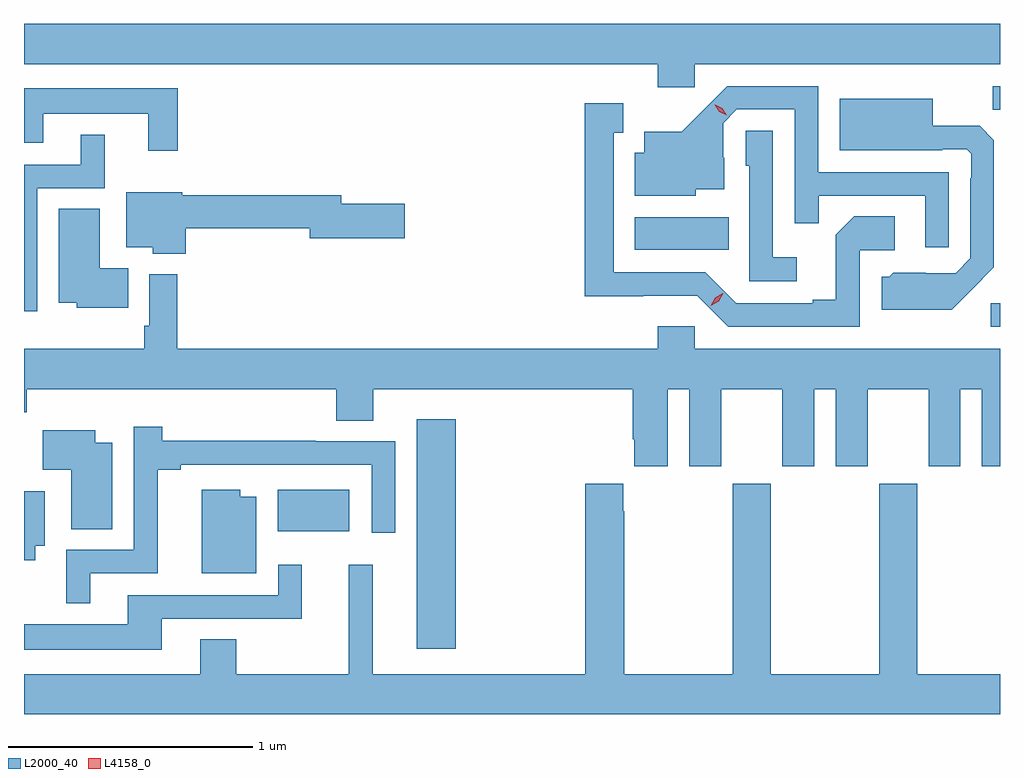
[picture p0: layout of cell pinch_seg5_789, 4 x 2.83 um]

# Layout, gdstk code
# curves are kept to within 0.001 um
import gdstk
lib = gdstk.Library(unit=1e-6, precision=1e-09)
def R(c, l, rs):  # rectangles x0, y0, x1, y1
    for r in rs: c.add(gdstk.rectangle(r[:2], r[2:], *l))
def P(c, l, *ps):  # polygons
    for p in ps: c.add(gdstk.Polygon(p, *l))
L2000_40 = (2000, 40)
L4158_0 = (4158, 0)

pinch_seg5_789 = lib.new_cell('pinch_seg5_789')
R(pinch_seg5_789, L2000_40, [(759.854,900.984,760.013,901.924), (759.284,901.466,759.577,901.636), (762.207,902.304,762.244,902.4), (760.748,902.618,761.132,902.752), (762.214,903.193,762.244,903.288)])
P(pinch_seg5_789, L2000_40, [(760.992,903.38),(762.244,903.38),(762.244,903.544),(758.244,903.544),(758.244,903.38),(760.841,903.38),(760.841,903.285),(760.992,903.285)],
  [(762.033,902.937),(761.499,902.937),(761.499,903.288),(761.126,903.288),(760.939,903.103),(760.787,903.103),(760.787,903.016),(760.748,903.016),(760.748,902.84),(760.998,902.84),(760.998,902.867),(761.113,902.867),(761.113,902.996),(761.109,902.996),(761.109,903.138),(761.166,903.195),(761.403,903.195),(761.403,902.728),(761.501,902.728),(761.501,902.841),(761.937,902.841),(761.937,902.628),(762.033,902.628)],
  [(758.875,903.28),(758.244,903.28),(758.244,903.057),(758.323,903.057),(758.323,903.176),(758.753,903.176),(758.753,903.024),(758.875,903.024)],
  [(762.127,902.453),(762.219,902.546),(762.219,903.068),(762.16,903.127),(761.968,903.127),(761.968,903.238),(761.588,903.238),(761.588,903.026),(762.008,903.026),(762.008,903.03),(762.108,903.03),(762.126,903.012),(762.126,902.912),(762.123,902.912),(762.123,902.583),(762.063,902.523),(761.806,902.524),(761.79,902.508),(761.759,902.508),(761.759,902.372),(762.047,902.372)],
  [(761.67,902.616),(761.812,902.616),(761.812,902.756),(761.647,902.756),(761.571,902.68),(761.571,902.413),(761.477,902.413),(761.477,902.4),(761.163,902.4),(761.037,902.526),(760.66,902.526),(760.66,903.099),(760.699,903.099),(760.699,903.22),(760.542,903.22),(760.542,902.429),(761.004,902.43),(761.13,902.304),(761.67,902.304)],
  [(761.41,902.587),(761.313,902.587),(761.313,903.107),(761.202,903.107),(761.202,902.964),(761.217,902.964),(761.217,902.49),(761.41,902.49)],
  [(758.298,902.871),(758.575,902.871),(758.575,903.091),(758.477,903.091),(758.477,902.967),(758.244,902.967),(758.244,902.367),(758.298,902.367)],
  [(758.906,902.707),(759.416,902.707),(759.416,902.665),(759.805,902.665),(759.805,902.807),(759.544,902.807),(759.544,902.843),(758.893,902.843),(758.893,902.854),(758.663,902.854),(758.663,902.63),(758.772,902.63),(758.772,902.603),(758.906,902.603)],
  [(758.672,902.542),(758.554,902.542),(758.554,902.786),(758.387,902.786),(758.387,902.402),(758.46,902.402),(758.46,902.381),(758.672,902.381)],
  [(760.882,902.048),(760.97,902.048),(760.97,901.731),(761.101,901.731),(761.101,902.048),(761.351,902.048),(761.351,901.731),(761.482,901.731),(761.482,902.048),(761.57,902.048),(761.57,901.731),(761.701,901.731),(761.701,902.048),(761.951,902.048),(761.951,901.731),(762.082,901.731),(762.082,902.048),(762.17,902.048),(762.17,901.731),(762.244,901.731),(762.244,902.212),(760.992,902.212),(760.992,902.305),(760.841,902.305),(760.841,902.212),(758.873,902.212),(758.873,902.518),(758.757,902.518),(758.757,902.308),(758.737,902.308),(758.737,902.212),(758.244,902.212),(758.244,901.952),(758.255,901.952),(758.255,902.048),(759.524,902.048),(759.524,901.918),(759.676,901.918),(759.676,902.048),(760.739,902.048),(760.739,901.843),(760.745,901.843),(760.745,901.731),(760.882,901.731)],
  [(758.515,901.293),(758.792,901.293),(758.792,901.717),(758.887,901.717),(758.887,901.737),(759.669,901.737),(759.669,901.458),(759.765,901.458),(759.765,901.833),(759.44,901.833),(759.44,901.835),(758.81,901.835),(758.81,901.894),(758.694,901.894),(758.694,901.389),(758.417,901.389),(758.417,901.169),(758.515,901.169)],
  [(758.605,901.828),(758.536,901.828),(758.536,901.879),(758.32,901.879),(758.32,901.718),(758.438,901.718),(758.438,901.474),(758.605,901.474)],
  [(762.244,900.88),(761.904,900.88),(761.904,901.66),(761.749,901.66),(761.749,900.88),(761.304,900.88),(761.304,901.66),(761.149,901.66),(761.149,900.88),(760.704,900.88),(760.704,901.547),(760.699,901.547),(760.699,901.66),(760.544,901.66),(760.544,900.88),(759.674,900.88),(759.674,901.327),(759.575,901.327),(759.575,900.88),(759.114,900.88),(759.114,901.022),(758.966,901.022),(758.966,900.88),(758.244,900.88),(758.244,900.716),(762.244,900.716)],
  [(759.196,901.606),(759.13,901.606),(759.13,901.636),(758.972,901.636),(758.972,901.292),(759.196,901.292)],
  [(758.29,901.406),(758.329,901.406),(758.329,901.63),(758.244,901.63),(758.244,901.346),(758.29,901.346)],
  [(758.809,901.107),(759.383,901.107),(759.383,901.327),(759.285,901.327),(759.285,901.203),(758.669,901.203),(758.669,901.084),(758.244,901.084),(758.244,900.98),(758.809,900.98)])
P(pinch_seg5_789, L4158_0, [(761.124,903.17),(761.093,903.184),(761.075,903.213),(761.075,903.214),(761.076,903.214),(761.106,903.199),(761.124,903.17),(761.124,903.17)],
  [(761.058,902.39),(761.058,902.39),(761.076,902.422),(761.108,902.441),(761.109,902.441),(761.109,902.441),(761.091,902.408),(761.059,902.39)])

lib.write_gds('pinch_seg5_789.gds')
